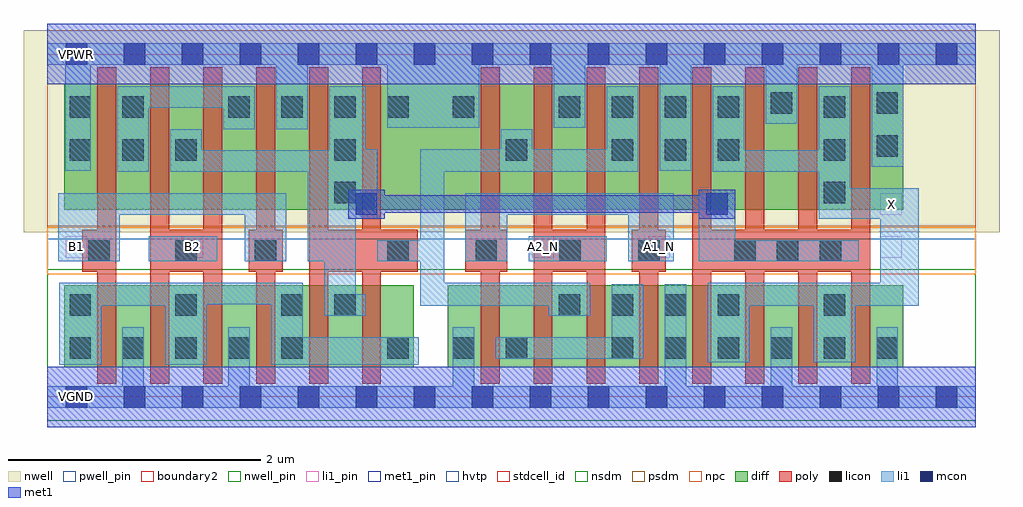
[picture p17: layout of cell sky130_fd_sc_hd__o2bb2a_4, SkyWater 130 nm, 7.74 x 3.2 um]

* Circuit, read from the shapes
.subckt sky130_fd_sc_hd__o2bb2a_4 A1_N A2_N B1 B2 VGND VNB VPB VPWR X
XM1 VGND B1 n1 VNB sky130_fd_pr__nfet_01v8 w=0.65 l=0.15 m=2
XM2 n1 B2 VGND VNB sky130_fd_pr__nfet_01v8 w=0.65 l=0.15 m=2
XM3 n2 n3 n1 VNB sky130_fd_pr__nfet_01v8 w=0.65 l=0.15 m=2
XM4 n4 A1_N VGND VNB sky130_fd_pr__nfet_01v8 w=0.65 l=0.15 m=2
XM5 n3 A2_N n4 VNB sky130_fd_pr__nfet_01v8 w=0.65 l=0.15 m=2
XM6 X n2 VGND VNB sky130_fd_pr__nfet_01v8 w=0.65 l=0.15 m=4
XM7 n5 B1 VPWR VPB sky130_fd_pr__pfet_01v8_hvt w=1 l=0.15 m=2
XM8 n2 B2 n5 VPB sky130_fd_pr__pfet_01v8_hvt w=1 l=0.15 m=2
XM9 n2 n3 VPWR VPB sky130_fd_pr__pfet_01v8_hvt w=1 l=0.15 m=2
XM10 n3 A1_N VPWR VPB sky130_fd_pr__pfet_01v8_hvt w=1 l=0.15 m=2
XM11 VPWR A2_N n3 VPB sky130_fd_pr__pfet_01v8_hvt w=1 l=0.15 m=2
XM12 X n2 VPWR VPB sky130_fd_pr__pfet_01v8_hvt w=1 l=0.15 m=4
.ends

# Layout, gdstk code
import gdstk
lib = gdstk.Library(unit=1e-6, precision=1e-09)
def R(c, l, rs):  # rectangles x0, y0, x1, y1
    for r in rs: c.add(gdstk.rectangle(r[:2], r[2:], *l))
def A(c, l, x, y, w, h, nx, ny, dx, dy):  # array of equal rectangles
    R(c, l, [(x+i*dx, y+j*dy, x+i*dx+w, y+j*dy+h) for i in range(nx) for j in range(ny)])
def P(c, l, *ps):  # polygons
    for p in ps: c.add(gdstk.Polygon(p, *l))
nwell_pin = (64, 16)
nwell = (64, 20)
diff = (65, 20)
poly = (66, 20)
licon = (66, 44)
li1_pin = (67, 16)
li1 = (67, 20)
mcon = (67, 44)
met1_pin = (68, 16)
met1 = (68, 20)
hvtp = (78, 44)
stdcell_id = (81, 4)
nsdm = (93, 44)
psdm = (94, 20)
npc = (95, 20)
pwell_pin = (122, 16)
boundary2 = (236, 0)

sky130_fd_sc_hd__o2bb2a_ = lib.new_cell('sky130_fd_sc_hd__o2bb2a_4')
R(sky130_fd_sc_hd__o2bb2a_, nwell_pin, [(0.145,2.635,0.315,2.805)])
R(sky130_fd_sc_hd__o2bb2a_, nwell, [(-0.19,1.305,7.55,2.91)])
R(sky130_fd_sc_hd__o2bb2a_, diff, [(0.135,0.235,2.905,0.885), (3.175,0.235,6.785,0.885), (0.135,1.485,6.785,2.485)])
P(sky130_fd_sc_hd__o2bb2a_, poly, [(5.115,0.105),(5.115,2.615),(5.265,2.615),(5.265,1.325),(5.535,1.325),(5.535,2.615),(5.685,2.615),(5.685,1.325),(5.955,1.325),(5.955,2.615),(6.105,2.615),(6.105,1.325),(6.375,1.325),(6.375,2.615),(6.525,2.615),(6.525,0.105),(6.375,0.105),(6.375,0.995),(6.105,0.995),(6.105,0.105),(5.955,0.105),(5.955,0.995),(5.685,0.995),(5.685,0.105),(5.535,0.105),(5.535,0.995),(5.265,0.995),(5.265,0.105)],
  [(3.435,0.105),(3.435,0.995),(3.315,0.995),(3.315,1.325),(3.435,1.325),(3.435,2.615),(3.585,2.615),(3.585,1.325),(3.645,1.325),(3.645,0.995),(3.585,0.995),(3.585,0.105)],
  [(2.075,0.105),(2.075,2.615),(2.225,2.615),(2.225,1.325),(2.495,1.325),(2.495,2.615),(2.645,2.615),(2.645,1.325),(2.935,1.325),(2.935,0.995),(2.645,0.995),(2.645,0.105),(2.495,0.105),(2.495,0.995),(2.225,0.995),(2.225,0.105)],
  [(1.655,0.105),(1.655,0.995),(1.595,0.995),(1.595,1.325),(1.655,1.325),(1.655,2.615),(1.805,2.615),(1.805,1.325),(1.865,1.325),(1.865,0.995),(1.805,0.995),(1.805,0.105)],
  [(4.695,0.105),(4.695,0.995),(4.635,0.995),(4.635,1.325),(4.695,1.325),(4.695,2.615),(4.845,2.615),(4.845,1.325),(4.905,1.325),(4.905,0.995),(4.845,0.995),(4.845,0.105)],
  [(0.395,0.105),(0.395,0.995),(0.275,0.995),(0.275,1.325),(0.395,1.325),(0.395,2.615),(0.545,2.615),(0.545,0.105)],
  [(0.815,0.105),(0.815,2.615),(0.965,2.615),(0.965,1.325),(1.235,1.325),(1.235,2.615),(1.385,2.615),(1.385,0.105),(1.235,0.105),(1.235,0.995),(0.965,0.995),(0.965,0.105)],
  [(3.855,0.105),(3.855,2.615),(4.005,2.615),(4.005,1.325),(4.275,1.325),(4.275,2.615),(4.425,2.615),(4.425,0.105),(4.275,0.105),(4.275,0.995),(4.005,0.995),(4.005,0.105)])
A(sky130_fd_sc_hd__o2bb2a_, licon, 0.175, 0.305, 0.17, 0.17, 5, 1, 0.42, 0)
A(sky130_fd_sc_hd__o2bb2a_, licon, 4.475, 0.305, 0.17, 0.17, 6, 1, 0.42, 0)
A(sky130_fd_sc_hd__o2bb2a_, licon, 0.175, 0.645, 0.17, 0.17, 3, 1, 0.84, 0)
A(sky130_fd_sc_hd__o2bb2a_, licon, 4.055, 0.645, 0.17, 0.17, 4, 2, 0.42, 1.57)
A(sky130_fd_sc_hd__o2bb2a_, licon, 5.445, 1.075, 0.17, 0.17, 3, 1, 0.34, 0)
A(sky130_fd_sc_hd__o2bb2a_, licon, 6.155, 1.535, 0.17, 0.17, 1, 3, 0, 0.34)
A(sky130_fd_sc_hd__o2bb2a_, licon, 0.175, 1.875, 0.17, 0.17, 3, 1, 0.42, 0)
A(sky130_fd_sc_hd__o2bb2a_, licon, 4.475, 1.875, 0.17, 0.17, 3, 1, 0.42, 0)
A(sky130_fd_sc_hd__o2bb2a_, licon, 1.435, 2.215, 0.17, 0.17, 4, 1, 0.42, 0)
R(sky130_fd_sc_hd__o2bb2a_, licon, [(2.695,0.305,2.865,0.475), (3.215,0.305,3.385,0.475), (3.635,0.305,3.805,0.475), (2.275,0.645,2.445,0.815), (6.155,0.645,6.325,0.815), (0.325,1.075,0.495,1.245), (1.015,1.075,1.185,1.245), (1.645,1.075,1.815,1.245), (2.695,1.075,2.865,1.245), (3.395,1.075,3.565,1.245), (4.06,1.075,4.23,1.245), (4.685,1.075,4.855,1.245), (2.275,1.535,2.445,1.705), (2.275,1.875,2.445,2.045), (3.635,1.875,3.805,2.045), (6.575,1.905,6.745,2.075), (0.175,2.215,0.345,2.385), (0.595,2.215,0.765,2.385), (3.215,2.215,3.385,2.385), (5.735,2.245,5.905,2.415), (6.575,2.245,6.745,2.415)])
R(sky130_fd_sc_hd__o2bb2a_, li1_pin, [(0.145,1.105,0.315,1.275), (1.065,1.105,1.235,1.275), (3.845,1.105,4.015,1.275), (4.765,1.105,4.935,1.275), (6.605,1.105,6.775,1.275), (6.605,1.445,6.775,1.615)])
R(sky130_fd_sc_hd__o2bb2a_, li1, [(0.805,1.075,1.345,1.275), (3.815,1.075,4.435,1.275)])
P(sky130_fd_sc_hd__o2bb2a_, li1, [(0.14,1.795),(0.14,2.635),(0,2.635),(0,2.805),(7.36,2.805),(7.36,2.635),(6.785,2.635),(6.785,1.825),(6.535,1.825),(6.535,2.635),(5.945,2.635),(5.945,2.165),(5.695,2.165),(5.695,2.635),(5.105,2.635),(5.105,1.795),(4.855,1.795),(4.855,2.635),(4.265,2.635),(4.265,2.135),(4.015,2.135),(4.015,2.635),(3.425,2.635),(3.425,2.135),(2.695,2.135),(2.695,2.635),(2.065,2.635),(2.065,2.125),(1.815,2.125),(1.815,2.635),(0.345,2.635),(0.345,1.795)],
  [(5.235,0.275),(5.235,0.905),(6.605,0.905),(6.605,1.415),(6.115,1.415),(6.115,1.785),(5.275,1.785),(5.275,2.465),(5.525,2.465),(5.525,1.955),(6.115,1.955),(6.115,2.465),(6.365,2.465),(6.365,1.655),(6.91,1.655),(6.91,0.725),(6.405,0.725),(6.405,0.275),(6.075,0.275),(6.075,0.725),(5.565,0.725),(5.565,0.275)],
  [(0,-0.085),(0,0.085),(0.595,0.085),(0.595,0.555),(0.765,0.555),(0.765,0.085),(1.435,0.085),(1.435,0.555),(1.605,0.555),(1.605,0.085),(3.215,0.085),(3.215,0.555),(3.385,0.555),(3.385,0.085),(4.895,0.085),(4.895,0.895),(5.065,0.895),(5.065,0.085),(5.735,0.085),(5.735,0.555),(5.905,0.555),(5.905,0.085),(6.575,0.085),(6.575,0.555),(6.745,0.555),(6.745,0.085),(7.36,0.085),(7.36,-0.085)],
  [(5.165,1.075),(5.165,1.615),(5.455,1.615),(5.455,1.245),(6.435,1.245),(6.435,1.075)],
  [(3.315,1.075),(3.315,1.615),(4.965,1.615),(4.965,1.075),(4.605,1.075),(4.605,1.445),(3.645,1.445),(3.645,1.075)],
  [(0.095,0.255),(0.095,0.905),(2.025,0.905),(2.025,0.475),(2.945,0.475),(2.945,0.255),(1.775,0.255),(1.775,0.735),(1.265,0.735),(1.265,0.255),(0.935,0.255),(0.935,0.725),(0.425,0.725),(0.425,0.255)],
  [(2.195,0.645),(2.195,1.075),(2.065,1.075),(2.065,1.785),(0.975,1.785),(0.975,2.125),(1.225,2.125),(1.225,1.955),(2.235,1.955),(2.235,2.465),(2.525,2.465),(2.525,1.965),(2.615,1.965),(2.615,1.415),(2.445,1.415),(2.445,0.815),(2.525,0.815),(2.525,0.645)],
  [(3.975,0.645),(3.975,0.725),(2.955,0.725),(2.955,1.075),(2.615,1.075),(2.615,1.245),(2.955,1.245),(2.955,1.965),(3.595,1.965),(3.595,2.125),(3.845,2.125),(3.845,1.965),(4.435,1.965),(4.435,2.465),(4.685,2.465),(4.685,1.785),(3.145,1.785),(3.145,0.905),(4.305,0.905),(4.305,0.645)],
  [(0.085,1.075),(0.085,1.615),(1.895,1.615),(1.895,1.075),(1.565,1.075),(1.565,1.445),(0.575,1.445),(0.575,1.075)],
  [(3.555,0.305),(3.555,0.475),(4.475,0.475),(4.475,0.895),(4.725,0.895),(4.725,0.305)],
  [(0.555,1.785),(0.555,2.465),(1.645,2.465),(1.645,2.125),(1.395,2.125),(1.395,2.295),(0.805,2.295),(0.805,1.785)])
A(sky130_fd_sc_hd__o2bb2a_, mcon, 0.145, -0.085, 0.17, 0.17, 16, 2, 0.46, 2.72)
R(sky130_fd_sc_hd__o2bb2a_, mcon, [(2.445,1.445,2.615,1.615), (5.225,1.445,5.395,1.615)])
R(sky130_fd_sc_hd__o2bb2a_, met1_pin, [(0.145,-0.085,0.315,0.085), (0.145,2.635,0.315,2.805)])
P(sky130_fd_sc_hd__o2bb2a_, met1, [(2.385,1.415),(2.385,1.645),(2.675,1.645),(2.675,1.6),(5.165,1.6),(5.165,1.645),(5.455,1.645),(5.455,1.415),(5.165,1.415),(5.165,1.46),(2.675,1.46),(2.675,1.415)])
R(sky130_fd_sc_hd__o2bb2a_, hvtp, [(0,1.25,7.36,2.72)])
R(sky130_fd_sc_hd__o2bb2a_, stdcell_id, [(0,0,7.36,2.72)])
R(sky130_fd_sc_hd__o2bb2a_, nsdm, [(0,-0.19,7.36,1.015)])
R(sky130_fd_sc_hd__o2bb2a_, psdm, [(0,1.355,7.36,2.91)])
R(sky130_fd_sc_hd__o2bb2a_, npc, [(0,0.975,7.36,1.345)])
R(sky130_fd_sc_hd__o2bb2a_, pwell_pin, [(0.145,-0.085,0.315,0.085)])
R(sky130_fd_sc_hd__o2bb2a_, boundary2, [(0,0,7.36,2.72)])
sky130_fd_sc_hd__o2bb2a_.add(gdstk.FlexPath([(0,0),(7.36,0)], 0.48, ends="flush", simple_path=True, layer=68, datatype=20))  # met1
sky130_fd_sc_hd__o2bb2a_.add(gdstk.FlexPath([(0,2.72),(7.36,2.72)], 0.48, ends="flush", simple_path=True, layer=68, datatype=20))  # met1
sky130_fd_sc_hd__o2bb2a_.add(gdstk.Label('VPWR', (0.23,2.72), layer=68, texttype=5))
sky130_fd_sc_hd__o2bb2a_.add(gdstk.Label('VGND', (0.23,0), layer=68, texttype=5))
sky130_fd_sc_hd__o2bb2a_.add(gdstk.Label('VPB', (0.23,2.72), layer=64, texttype=5))
sky130_fd_sc_hd__o2bb2a_.add(gdstk.Label('VNB', (0.23,0), layer=64, texttype=59))
sky130_fd_sc_hd__o2bb2a_.add(gdstk.Label('o2bb2a_4', (0,0), layer=83, texttype=44))
sky130_fd_sc_hd__o2bb2a_.add(gdstk.Label('B1', (0.23,1.19), layer=67, texttype=5))
sky130_fd_sc_hd__o2bb2a_.add(gdstk.Label('B2', (1.15,1.19), layer=67, texttype=5))
sky130_fd_sc_hd__o2bb2a_.add(gdstk.Label('X', (6.69,1.53), layer=67, texttype=5))
sky130_fd_sc_hd__o2bb2a_.add(gdstk.Label('A1_N', (4.85,1.19), layer=67, texttype=5))
sky130_fd_sc_hd__o2bb2a_.add(gdstk.Label('A2_N', (3.93,1.19), layer=67, texttype=5))

lib.write_gds('sky130_fd_sc_hd__o2bb2a_4.gds')
